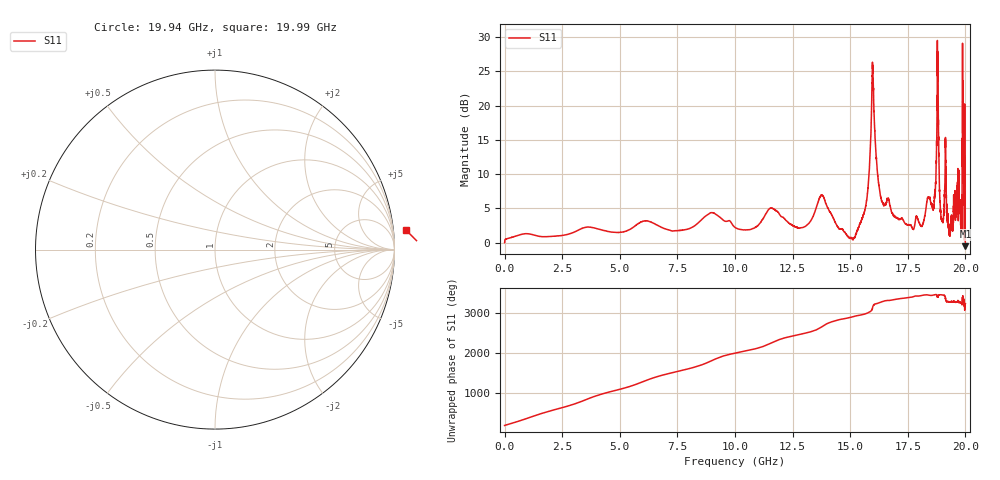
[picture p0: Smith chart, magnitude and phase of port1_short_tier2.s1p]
! Created with skrf 1.8.0 (http://scikit-rf.org).
# GHz S RI R 50.0
!freq ReS11 ImS11
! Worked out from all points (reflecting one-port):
!   10001 points, 1 MHz to 20 GHz, reference 50 ohm
!   lowest |S11| = -0.5 dB at 20 GHz (marker M1), VSWR 34.99, Z = 411 + j740 ohm
!   phase of S11 starts at 180 deg and turns +3066 deg over the sweep
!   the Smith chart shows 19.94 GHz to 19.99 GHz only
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0.001  -0.9999 0.000652
2.500875  -0.0355 -1.13
3.872806  -1.28 -0.1197
5.00075  1.173 0.2019
6.330684  0.0683 -1.418
7.500625  -0.1745 1.213
8.218589  -1.213 -0.5189
8.964552  1.652 0.1312
10.0005  -1.218 -0.4346
11.18244  1.471 -0.00522
11.56442  -0.0968 1.788
12.50038  0.0108 -1.342
13.35433  1.323 0.7326
13.86031  -2.121 0.1191
15.00025  1.029 0.3618
15.65422  -0.5541 1.697
15.81621  -2.657 1.635
15.87021  -4.498 1.211
16.0022  11.47 -9.288
16.0782  5.94 -0.5931
16.29419  1.902 1.311
17.50013  -1.247 0.5276
18.63807  -1.282 -1.315
18.79006  -21.41 -2.171
18.87406  -1.704 -1.886
18.94205  -1.001 -1.152
19.24804  0.7827 1.125
20  0.9394 0.0974
